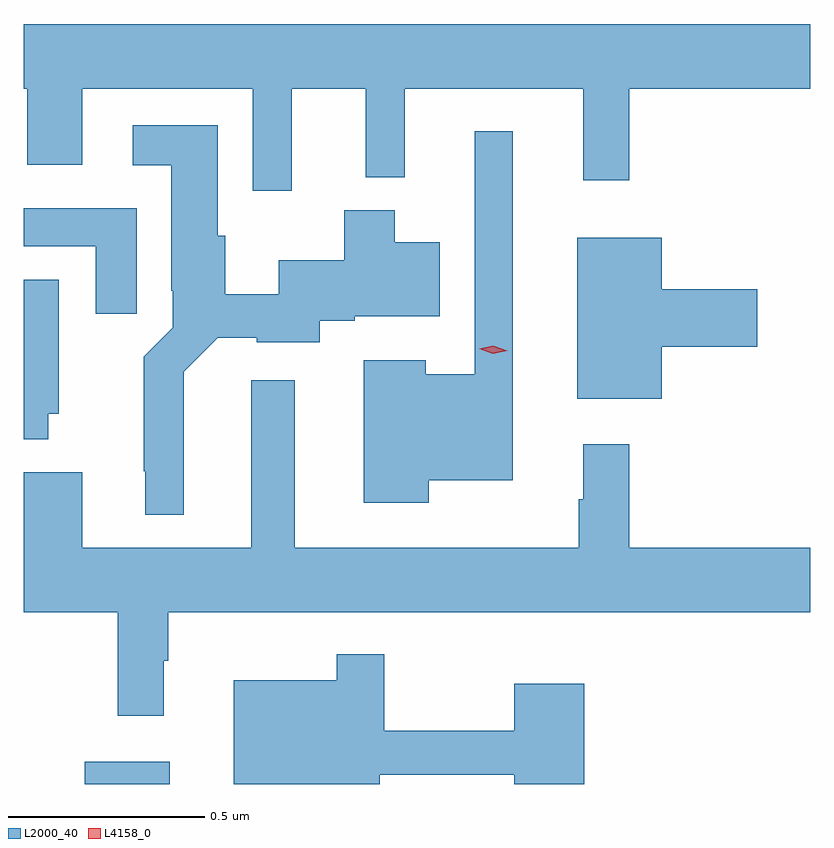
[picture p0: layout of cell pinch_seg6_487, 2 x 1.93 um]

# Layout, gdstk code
import gdstk
lib = gdstk.Library(unit=1e-6, precision=1e-09)
def R(c, l, rs):  # rectangles x0, y0, x1, y1
    for r in rs: c.add(gdstk.rectangle(r[:2], r[2:], *l))
def P(c, l, *ps):  # polygons
    for p in ps: c.add(gdstk.Polygon(p, *l))
L2000_40 = (2000, 40)
L4158_0 = (4158, 0)

pinch_seg6_487 = lib.new_cell('pinch_seg6_487')
R(pinch_seg6_487, L2000_40, [(866.21,916.264,866.425,916.321)])
P(pinch_seg6_487, L2000_40, [(866.735,918.032),(866.924,918.032),(866.924,917.807),(867.023,917.807),(867.023,918.032),(867.476,918.032),(867.476,917.799),(867.593,917.799),(867.593,918.032),(868.054,918.032),(868.054,918.196),(866.054,918.196),(866.054,918.032),(866.063,918.032),(866.063,917.838),(866.203,917.838),(866.203,918.032),(866.637,918.032),(866.637,917.772),(866.735,917.772)],
  [(866.461,917.312),(866.547,917.399),(866.646,917.399),(866.646,917.387),(866.807,917.387),(866.807,917.441),(866.896,917.441),(866.896,917.453),(867.112,917.453),(867.112,917.641),(866.998,917.641),(866.998,917.722),(866.869,917.722),(866.869,917.596),(866.703,917.596),(866.703,917.509),(866.566,917.509),(866.566,917.658),(866.548,917.658),(866.548,917.938),(866.331,917.938),(866.331,917.837),(866.429,917.837),(866.429,917.518),(866.433,917.518),(866.433,917.424),(866.359,917.35),(866.359,917.059),(866.363,917.059),(866.363,916.949),(866.461,916.949)],
  [(867.084,917.036),(867.298,917.036),(867.298,917.923),(867.201,917.923),(867.201,917.305),(867.076,917.305),(867.076,917.341),(866.918,917.341),(866.918,916.979),(867.084,916.979)],
  [(866.341,917.727),(866.054,917.727),(866.054,917.631),(866.237,917.631),(866.237,917.46),(866.341,917.46)],
  [(867.676,917.375),(867.919,917.375),(867.919,917.522),(867.676,917.522),(867.676,917.653),(867.461,917.653),(867.461,917.243),(867.676,917.243)],
  [(866.116,917.205),(866.143,917.205),(866.143,917.546),(866.054,917.546),(866.054,917.141),(866.116,917.141)],
  [(866.41,916.577),(866.422,916.577),(866.422,916.7),(868.054,916.7),(868.054,916.864),(867.593,916.864),(867.593,917.128),(867.476,917.128),(867.476,916.988),(867.465,916.988),(867.465,916.864),(866.743,916.864),(866.743,917.29),(866.633,917.29),(866.633,916.864),(866.203,916.864),(866.203,917.056),(866.054,917.056),(866.054,916.7),(866.293,916.7),(866.293,916.437),(866.41,916.437)],
  [(866.959,916.288),(867.301,916.288),(867.301,916.264),(867.479,916.264),(867.479,916.519),(867.301,916.519),(867.301,916.399),(866.971,916.399),(866.971,916.594),(866.85,916.594),(866.85,916.528),(866.588,916.528),(866.588,916.264),(866.959,916.264)])
P(pinch_seg6_487, L4158_0, [(867.247,917.358),(867.212,917.37),(867.212,917.37),(867.212,917.37),(867.248,917.378),(867.283,917.366),(867.283,917.366),(867.283,917.365)])

lib.write_gds('pinch_seg6_487.gds')
